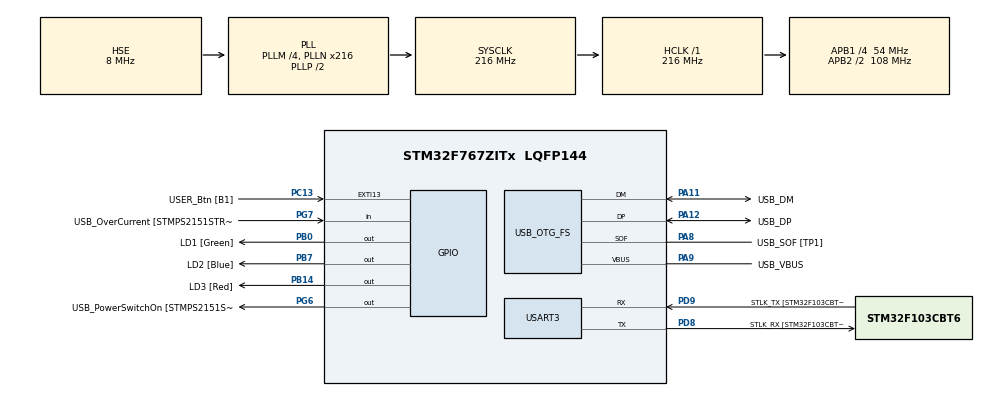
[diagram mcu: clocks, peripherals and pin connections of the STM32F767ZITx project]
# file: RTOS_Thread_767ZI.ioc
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FREERTOS.INCLUDE_vTaskCleanUpResources=1
FREERTOS.Tasks01=THREAD1,24,512,LED_Thread1,Default,NULL,Dynamic,NULL,NULL;THREAD2,8,512,LED_Thread2,Default,NULL,Dynamic,NULL,NULL
Mcu.Family=STM32F7
Mcu.Name=STM32F767ZITx
Mcu.Package=LQFP144
NVIC.PriorityGroup=NVIC_PRIORITYGROUP_4
NVIC.TIM1_BRK_TIM9_IRQn=true\:0\:0\:false\:false\:true\:false\:false\:true
NVIC.TimeBase=TIM1_BRK_TIM9_IRQn
NVIC.TimeBaseIP=TIM9
PA1.GPIO_Label=RMII_REF_CLK [LAN8742A-CZ-TR_REFCLK0]
PA1.Signal=ETH_REF_CLK
PA10.GPIO_Label=USB_ID
PA10.Signal=USB_OTG_FS_ID
PA11.GPIO_Label=USB_DM
PA11.Mode=Device_Only
PA11.Signal=USB_OTG_FS_DM
PA12.GPIO_Label=USB_DP
PA12.Mode=Device_Only
PA12.Signal=USB_OTG_FS_DP
PA13.GPIO_Label=TMS
PA13.Mode=Serial_Wire
PA13.Signal=SYS_JTMS-SWDIO
PA14.GPIO_Label=TCK
PA14.Mode=Serial_Wire
PA14.Signal=SYS_JTCK-SWCLK
PA2.GPIO_Label=RMII_MDIO [LAN8742A-CZ-TR_MDIO]
PA2.Signal=ETH_MDIO
PA7.GPIO_Label=RMII_CRS_DV [LAN8742A-CZ-TR_CRS_DV]
PA7.Signal=ETH_CRS_DV
PA8.GPIO_Label=USB_SOF [TP1]
PA8.Mode=Activate_SOF_FS
PA8.Signal=USB_OTG_FS_SOF
PA9.GPIO_Label=USB_VBUS
PA9.Mode=Activate_VBUS
PA9.Signal=USB_OTG_FS_VBUS
PB0.GPIO_Label=LD1 [Green]
PB0.GPIO_ModeDefaultOutputPP=GPIO_MODE_OUTPUT_PP
PB0.GPIO_PuPd=GPIO_NOPULL
PB0.GPIO_Speed=GPIO_SPEED_FREQ_LOW
PB0.Signal=GPIO_Output
PB13.GPIO_Label=RMII_TXD1 [LAN8742A-CZ-TR_TXD1]
PB13.Signal=ETH_TXD1
PB14.GPIO_Label=LD3 [Red]
PB14.GPIO_ModeDefaultOutputPP=GPIO_MODE_OUTPUT_PP
PB14.GPIO_PuPd=GPIO_NOPULL
PB14.GPIO_Speed=GPIO_SPEED_FREQ_LOW
PB14.Signal=GPIO_Output
PB3.GPIO_Label=SWO
PB3.Signal=SYS_JTDO-SWO
PB7.GPIO_Label=LD2 [Blue]
PB7.GPIO_ModeDefaultOutputPP=GPIO_MODE_OUTPUT_PP
PB7.GPIO_PuPd=GPIO_NOPULL
PB7.GPIO_Speed=GPIO_SPEED_FREQ_LOW
PB7.Signal=GPIO_Output
PC1.GPIO_Label=RMII_MDC [LAN8742A-CZ-TR_MDC]
PC1.Signal=ETH_MDC
PC13.GPIO_Label=USER_Btn [B1]
PC13.Signal=GPXTI13
PC14/OSC32_IN.Mode=LSE-External-Clock-Source
PC14/OSC32_IN.Signal=RCC_OSC32_IN
PC15/OSC32_OUT.Mode=LSE-External-Clock-Source
PC15/OSC32_OUT.Signal=RCC_OSC32_OUT
PC4.GPIO_Label=RMII_RXD0 [LAN8742A-CZ-TR_RXD0]
PC4.Signal=ETH_RXD0
PC5.GPIO_Label=RMII_RXD1 [LAN8742A-CZ-TR_RXD1]
PC5.Signal=ETH_RXD1
PD8.GPIO_Label=STLK_RX [STM32F103CBT6_PA3]
PD8.Mode=Asynchronous
PD8.Signal=USART3_TX
PD9.GPIO_Label=STLK_TX [STM32F103CBT6_PA2]
PD9.Mode=Asynchronous
PD9.Signal=USART3_RX
PG11.GPIO_Label=RMII_TX_EN [LAN8742A-CZ-TR_TXEN]
PG11.Signal=ETH_TX_EN
PG13.GPIO_Label=RMII_TXD0 [LAN8742A-CZ-TR_TXD0]
PG13.Signal=ETH_TXD0
PG6.GPIO_Label=USB_PowerSwitchOn [STMPS2151STR_EN]
PG6.Signal=GPIO_Output
PG7.GPIO_Label=USB_OverCurrent [STMPS2151STR_FAULT]
PG7.Signal=GPIO_Input
PH0/OSC_IN.GPIO_Label=MCO [STM32F103CBT6_PA8]
PH0/OSC_IN.Mode=HSE-External-Clock-Source
PH0/OSC_IN.Signal=RCC_OSC_IN
PH1/OSC_OUT.Mode=HSE-External-Clock-Source
PH1/OSC_OUT.Signal=RCC_OSC_OUT
ProjectManager.HeapSize=0x200
ProjectManager.StackSize=0x400
ProjectManager.TargetToolchain=STM32CubeIDE
RCC.48MHZClocksFreq_Value=24000000
RCC.AHBFreq_Value=216000000
RCC.APB1CLKDivider=RCC_HCLK_DIV4
RCC.APB1Freq_Value=54000000
RCC.APB1TimFreq_Value=108000000
RCC.APB2CLKDivider=RCC_HCLK_DIV2
RCC.APB2Freq_Value=108000000
RCC.APB2TimFreq_Value=216000000
RCC.CortexFreq_Value=216000000
RCC.HCLKFreq_Value=216000000
RCC.HSE_VALUE=8000000
RCC.HSI_VALUE=16000000
RCC.LSE_VALUE=32768
RCC.PLLM=4
RCC.PLLMUL=RCC_PLL_MUL9
RCC.PLLN=216
RCC.PLLQ=9
RCC.PRESCALERUSB=RCC_USBCLKSOURCE_PLL_DIV1_5
RCC.SYSCLKFreq_VALUE=216000000
RCC.SYSCLKSource=RCC_SYSCLKSOURCE_PLLCLK
RCC.SYSCLKSourceVirtual=RCC_SYSCLKSOURCE_PLLCLK
RCC.USBFreq_Value=48000000
RCC.VCOOutputFreq_Value=432000000
USART3.VirtualMode-Asynchronous=VM_ASYNC
USB_OTG_FS.VirtualMode=Device_Only
VP_FREERTOS_VS_CMSIS_V2.Mode=CMSIS_V2
VP_SYS_VS_tim9.Mode=TIM9
board=NUCLEO-F767ZI

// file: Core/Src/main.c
/* USER CODE BEGIN Header */
/**
 ******************************************************************************
 * @file           : main.c
 * @brief          : Main program body
 ******************************************************************************
 * @attention
 *
 * <h2><center>&copy; Copyright (c) 2021 STMicroelectronics.
 * All rights reserved.</center></h2>
 *
 * This software component is licensed by ST under BSD 3-Clause license,
 * the "License"; You may not use this file except in compliance with the
 * License. You may obtain a copy of the License at:
 *                        opensource.org/licenses/BSD-3-Clause
 *
 ******************************************************************************
 */
/* USER CODE END Header */
#include "main.h"
#include "cmsis_os.h"

UART_HandleTypeDef huart3;

PCD_HandleTypeDef hpcd_USB_OTG_FS;

/* Definitions for THREAD1 */
osThreadId_t THREAD1Handle;
const osThreadAttr_t THREAD1_attributes = {
  .name = "THREAD1",
  .priority = (osPriority_t) osPriorityNormal,
  .stack_size = 512 * 4
};
/* Definitions for THREAD2 */
osThreadId_t THREAD2Handle;
const osThreadAttr_t THREAD2_attributes = {
  .name = "THREAD2",
  .priority = (osPriority_t) osPriorityLow,
  .stack_size = 512 * 4
};
/* USER CODE BEGIN PV */
__IO uint32_t OsStatus = 0;
/* USER CODE END PV */

void SystemClock_Config(void);
static void MX_GPIO_Init(void);
static void MX_USART3_UART_Init(void);
static void MX_USB_OTG_FS_PCD_Init(void);
void LED_Thread1(void *argument);
void LED_Thread2(void *argument);

int main(void)
{

  /* MCU Configuration--------------------------------------------------------*/

  /* Reset of all peripherals, Initializes the Flash interface and the Systick. */
  HAL_Init();

  /* Configure the system clock */
  SystemClock_Config();

  /* Initialize all configured peripherals */
  MX_GPIO_Init();
  MX_USART3_UART_Init();
  MX_USB_OTG_FS_PCD_Init();

  /* Init scheduler */
  osKernelInitialize();

  /* Create the thread(s) */
  /* creation of THREAD1 */
  THREAD1Handle = osThreadNew(LED_Thread1, NULL, &THREAD1_attributes);

  /* creation of THREAD2 */
  THREAD2Handle = osThreadNew(LED_Thread2, NULL, &THREAD2_attributes);

  /* Start scheduler */
  osKernelStart();

  /* We should never get here as control is now taken by the scheduler */
  /* Infinite loop */
	while (1)
	{

	}
}

void SystemClock_Config(void)
{
  RCC_OscInitTypeDef RCC_OscInitStruct = {0};
  RCC_ClkInitTypeDef RCC_ClkInitStruct = {0};
  RCC_PeriphCLKInitTypeDef PeriphClkInitStruct = {0};

  /** Configure the main internal regulator output voltage
  */
  __HAL_RCC_PWR_CLK_ENABLE();
  __HAL_PWR_VOLTAGESCALING_CONFIG(PWR_REGULATOR_VOLTAGE_SCALE1);
  /** Initializes the RCC Oscillators according to the specified parameters
  * in the RCC_OscInitTypeDef structure.
  */
  RCC_OscInitStruct.OscillatorType = RCC_OSCILLATORTYPE_HSE;
  RCC_OscInitStruct.HSEState = RCC_HSE_BYPASS;
  RCC_OscInitStruct.PLL.PLLState = RCC_PLL_ON;
  RCC_OscInitStruct.PLL.PLLSource = RCC_PLLSOURCE_HSE;
  RCC_OscInitStruct.PLL.PLLM = 4;
  RCC_OscInitStruct.PLL.PLLN = 216;
  RCC_OscInitStruct.PLL.PLLP = RCC_PLLP_DIV2;
  RCC_OscInitStruct.PLL.PLLQ = 9;
  if (HAL_RCC_OscConfig(&RCC_OscInitStruct) != HAL_OK)
  {
    Error_Handler();
  }
  /** Activate the Over-Drive mode
  */
  if (HAL_PWREx_EnableOverDrive() != HAL_OK)
  {
    Error_Handler();
  }
  /** Initializes the CPU, AHB and APB buses clocks
  */
  RCC_ClkInitStruct.ClockType = RCC_CLOCKTYPE_HCLK|RCC_CLOCKTYPE_SYSCLK
                              |RCC_CLOCKTYPE_PCLK1|RCC_CLOCKTYPE_PCLK2;
  RCC_ClkInitStruct.SYSCLKSource = RCC_SYSCLKSOURCE_PLLCLK;
  RCC_ClkInitStruct.AHBCLKDivider = RCC_SYSCLK_DIV1;
  RCC_ClkInitStruct.APB1CLKDivider = RCC_HCLK_DIV4;
  RCC_ClkInitStruct.APB2CLKDivider = RCC_HCLK_DIV2;

  if (HAL_RCC_ClockConfig(&RCC_ClkInitStruct, FLASH_LATENCY_7) != HAL_OK)
  {
    Error_Handler();
  }
  PeriphClkInitStruct.PeriphClockSelection = RCC_PERIPHCLK_USART3|RCC_PERIPHCLK_CLK48;
  PeriphClkInitStruct.Usart3ClockSelection = RCC_USART3CLKSOURCE_PCLK1;
  PeriphClkInitStruct.Clk48ClockSelection = RCC_CLK48SOURCE_PLL;
  if (HAL_RCCEx_PeriphCLKConfig(&PeriphClkInitStruct) != HAL_OK)
  {
    Error_Handler();
  }
}

static void MX_USART3_UART_Init(void)
{

  huart3.Instance = USART3;
  huart3.Init.BaudRate = 115200;
  huart3.Init.WordLength = UART_WORDLENGTH_8B;
  huart3.Init.StopBits = UART_STOPBITS_1;
  huart3.Init.Parity = UART_PARITY_NONE;
  huart3.Init.Mode = UART_MODE_TX_RX;
  huart3.Init.HwFlowCtl = UART_HWCONTROL_NONE;
  huart3.Init.OverSampling = UART_OVERSAMPLING_16;
  huart3.Init.OneBitSampling = UART_ONE_BIT_SAMPLE_DISABLE;
  huart3.AdvancedInit.AdvFeatureInit = UART_ADVFEATURE_NO_INIT;
  if (HAL_UART_Init(&huart3) != HAL_OK)
  {
    Error_Handler();
  }

}

static void MX_USB_OTG_FS_PCD_Init(void)
{

  hpcd_USB_OTG_FS.Instance = USB_OTG_FS;
  hpcd_USB_OTG_FS.Init.dev_endpoints = 6;
  hpcd_USB_OTG_FS.Init.speed = PCD_SPEED_FULL;
  hpcd_USB_OTG_FS.Init.dma_enable = DISABLE;
  hpcd_USB_OTG_FS.Init.phy_itface = PCD_PHY_EMBEDDED;
  hpcd_USB_OTG_FS.Init.Sof_enable = ENABLE;
  hpcd_USB_OTG_FS.Init.low_power_enable = DISABLE;
  hpcd_USB_OTG_FS.Init.lpm_enable = DISABLE;
  hpcd_USB_OTG_FS.Init.vbus_sensing_enable = ENABLE;
  hpcd_USB_OTG_FS.Init.use_dedicated_ep1 = DISABLE;
  if (HAL_PCD_Init(&hpcd_USB_OTG_FS) != HAL_OK)
  {
    Error_Handler();
  }

}

static void MX_GPIO_Init(void)
{
  GPIO_InitTypeDef GPIO_InitStruct = {0};

  /* GPIO Ports Clock Enable */
  __HAL_RCC_GPIOC_CLK_ENABLE();
  __HAL_RCC_GPIOH_CLK_ENABLE();
  __HAL_RCC_GPIOA_CLK_ENABLE();
  __HAL_RCC_GPIOB_CLK_ENABLE();
  __HAL_RCC_GPIOD_CLK_ENABLE();
  __HAL_RCC_GPIOG_CLK_ENABLE();

  /*Configure GPIO pin Output Level */
  HAL_GPIO_WritePin(GPIOB, LD1_Pin|LD3_Pin|LD2_Pin, GPIO_PIN_RESET);

  /*Configure GPIO pin Output Level */
  HAL_GPIO_WritePin(USB_PowerSwitchOn_GPIO_Port, USB_PowerSwitchOn_Pin, GPIO_PIN_RESET);

  /*Configure GPIO pin : USER_Btn_Pin */
  GPIO_InitStruct.Pin = USER_Btn_Pin;
  GPIO_InitStruct.Mode = GPIO_MODE_IT_RISING;
  GPIO_InitStruct.Pull = GPIO_NOPULL;
  HAL_GPIO_Init(USER_Btn_GPIO_Port, &GPIO_InitStruct);

  /*Configure GPIO pins : RMII_MDC_Pin RMII_RXD0_Pin RMII_RXD1_Pin */
  GPIO_InitStruct.Pin = RMII_MDC_Pin|RMII_RXD0_Pin|RMII_RXD1_Pin;
  GPIO_InitStruct.Mode = GPIO_MODE_AF_PP;
  GPIO_InitStruct.Pull = GPIO_NOPULL;
  GPIO_InitStruct.Speed = GPIO_SPEED_FREQ_VERY_HIGH;
  GPIO_InitStruct.Alternate = GPIO_AF11_ETH;
  HAL_GPIO_Init(GPIOC, &GPIO_InitStruct);

  /*Configure GPIO pins : RMII_REF_CLK_Pin RMII_MDIO_Pin RMII_CRS_DV_Pin */
  GPIO_InitStruct.Pin = RMII_REF_CLK_Pin|RMII_MDIO_Pin|RMII_CRS_DV_Pin;
  GPIO_InitStruct.Mode = GPIO_MODE_AF_PP;
  GPIO_InitStruct.Pull = GPIO_NOPULL;
  GPIO_InitStruct.Speed = GPIO_SPEED_FREQ_VERY_HIGH;
  GPIO_InitStruct.Alternate = GPIO_AF11_ETH;
  HAL_GPIO_Init(GPIOA, &GPIO_InitStruct);

  /*Configure GPIO pins : LD1_Pin LD3_Pin LD2_Pin */
  GPIO_InitStruct.Pin = LD1_Pin|LD3_Pin|LD2_Pin;
  GPIO_InitStruct.Mode = GPIO_MODE_OUTPUT_PP;
  GPIO_InitStruct.Pull = GPIO_NOPULL;
  GPIO_InitStruct.Speed = GPIO_SPEED_FREQ_LOW;
  HAL_GPIO_Init(GPIOB, &GPIO_InitStruct);

  /*Configure GPIO pin : RMII_TXD1_Pin */
  GPIO_InitStruct.Pin = RMII_TXD1_Pin;
  GPIO_InitStruct.Mode = GPIO_MODE_AF_PP;
  GPIO_InitStruct.Pull = GPIO_NOPULL;
  GPIO_InitStruct.Speed = GPIO_SPEED_FREQ_VERY_HIGH;
  GPIO_InitStruct.Alternate = GPIO_AF11_ETH;
  HAL_GPIO_Init(RMII_TXD1_GPIO_Port, &GPIO_InitStruct);

  /*Configure GPIO pin : USB_PowerSwitchOn_Pin */
  GPIO_InitStruct.Pin = USB_PowerSwitchOn_Pin;
  GPIO_InitStruct.Mode = GPIO_MODE_OUTPUT_PP;
  GPIO_InitStruct.Pull = GPIO_NOPULL;
  GPIO_InitStruct.Speed = GPIO_SPEED_FREQ_LOW;
  HAL_GPIO_Init(USB_PowerSwitchOn_GPIO_Port, &GPIO_InitStruct);

  /*Configure GPIO pin : USB_OverCurrent_Pin */
  GPIO_InitStruct.Pin = USB_OverCurrent_Pin;
  GPIO_InitStruct.Mode = GPIO_MODE_INPUT;
  GPIO_InitStruct.Pull = GPIO_NOPULL;
  HAL_GPIO_Init(USB_OverCurrent_GPIO_Port, &GPIO_InitStruct);

  /*Configure GPIO pins : RMII_TX_EN_Pin RMII_TXD0_Pin */
  GPIO_InitStruct.Pin = RMII_TX_EN_Pin|RMII_TXD0_Pin;
  GPIO_InitStruct.Mode = GPIO_MODE_AF_PP;
  GPIO_InitStruct.Pull = GPIO_NOPULL;
  GPIO_InitStruct.Speed = GPIO_SPEED_FREQ_VERY_HIGH;
  GPIO_InitStruct.Alternate = GPIO_AF11_ETH;
  HAL_GPIO_Init(GPIOG, &GPIO_InitStruct);

}

void LED_Thread1(void *argument)
{
  /* USER CODE BEGIN 5 */
	uint32_t count = 0;
	(void) argument;
	/* Infinite loop */
	for (;;)
	{
		count = osKernelGetTickCount() + 5000;

		/* Toggle LED1 every 200 ms for 5 s */
		while (count > osKernelGetTickCount())
		{
			HAL_GPIO_TogglePin(LD1_GPIO_Port, LD1_Pin);

			osDelay(200);
		}

		/* Turn off LED1 */
		HAL_GPIO_WritePin(LD1_GPIO_Port, LD1_Pin, GPIO_PIN_RESET);

		/* Suspend Thread 1 */
		OsStatus = osThreadSuspend(THREAD1Handle);

		count = osKernelGetTickCount() + 5000;

		/* Toggle LED1 every 500 ms for 5 s */
		while (count > osKernelGetTickCount())
		{
			HAL_GPIO_TogglePin(LD1_GPIO_Port, LD1_Pin);

			osDelay(500);
		}

		/* Resume Thread 2*/
		OsStatus = osThreadResume(THREAD2Handle);
	}
  /* USER CODE END 5 */
}

void LED_Thread2(void *argument)
{
  /* USER CODE BEGIN LED_Thread2 */
	uint32_t count;
	(void) argument;
	/* Infinite loop */
	for (;;)
	{
		count = osKernelGetTickCount() + 10000;

		/* Toggle LED2 every 500 ms for 10 s */
		while (count > osKernelGetTickCount())
		{
			HAL_GPIO_TogglePin(LD2_GPIO_Port, LD2_Pin);

			osDelay(500);
		}

		/* Turn off LED2 */
		HAL_GPIO_WritePin(LD2_GPIO_Port, LD2_Pin, GPIO_PIN_RESET);

		/* Resume Thread 1 */
		OsStatus = osThreadResume(THREAD1Handle);

		/* Suspend Thread 2 */
		OsStatus = osThreadSuspend(THREAD2Handle);
	}
  /* USER CODE END LED_Thread2 */
}

 /**
  * @brief  Period elapsed callback in non blocking mode
  * @note   This function is called  when TIM9 interrupt took place, inside
  * HAL_TIM_IRQHandler(). It makes a direct call to HAL_IncTick() to increment
  * a global variable "uwTick" used as application time base.
  * @param  htim : TIM handle
  * @retval None
  */
void HAL_TIM_PeriodElapsedCallback(TIM_HandleTypeDef *htim)
{
  if (htim->Instance == TIM9) {
    HAL_IncTick();
  }
}

void Error_Handler(void)
{
	__disable_irq();
	while (1)
	{
	}
}

/************************ (C) COPYRIGHT STMicroelectronics *****END OF FILE****/
